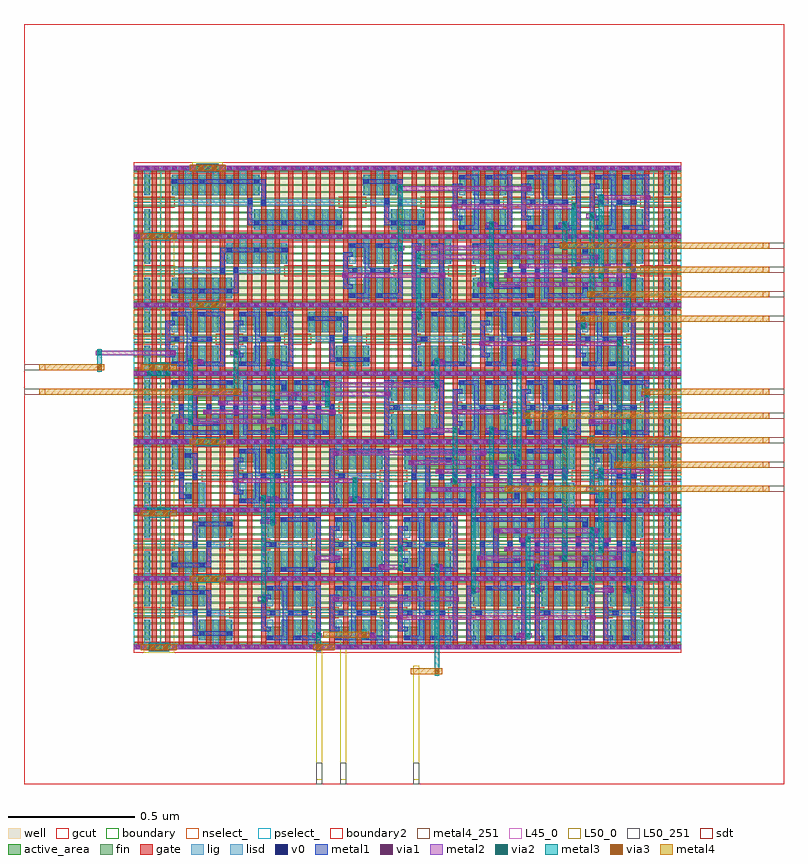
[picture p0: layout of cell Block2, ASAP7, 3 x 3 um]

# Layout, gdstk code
from math import pi, radians
import gdstk
lib = gdstk.Library(unit=1e-6, precision=2.5e-10)
def R(c, l, rs):  # rectangles x0, y0, x1, y1
    for r in rs: c.add(gdstk.rectangle(r[:2], r[2:], *l))
def A(c, l, x, y, w, h, nx, ny, dx, dy):  # array of equal rectangles
    R(c, l, [(x+i*dx, y+j*dy, x+i*dx+w, y+j*dy+h) for i in range(nx) for j in range(ny)])
def P(c, l, *ps):  # polygons
    for p in ps: c.add(gdstk.Polygon(p, *l))
well = (1, 0)
fin = (2, 0)
gate = (7, 0)
gcut = (10, 0)
active_area = (11, 0)
nselect_ = (12, 0)
pselect_ = (13, 0)
lig = (16, 0)
lisd = (17, 0)
v0 = (18, 0)
metal1 = (19, 0)
metal2 = (20, 0)
via1 = (21, 0)
via2 = (25, 0)
metal3 = (30, 0)
via3 = (35, 0)
metal4 = (40, 0)
metal4_251 = (40, 251)
L45_0 = (45, 0)
L50_0 = (50, 0)
L50_251 = (50, 251)
sdt = (88, 0)
boundary = (100, 0)
boundary2 = (235, 0)

via_via1_2_2160_18_1_60_ = lib.new_cell('VIA_via1_2_2160_18_1_60_36_36')
R(via_via1_2_2160_18_1_60_, metal1, [(-1.071,-0.009,1.071,0.009)])
R(via_via1_2_2160_18_1_60_, metal2, [(-1.073,-0.009,1.073,0.009)])
A(via_via1_2_2160_18_1_60_, via1, -1.071, -0.009, 0.018, 0.018, 60, 1, 0.036, 0)

via_via12 = lib.new_cell('VIA_VIA12')
R(via_via12, metal1, [(-0.009,-0.011,0.009,0.011)])
R(via_via12, metal2, [(-0.014,-0.009,0.014,0.009)])
R(via_via12, via1, [(-0.009,-0.009,0.009,0.009)])

via_via23 = lib.new_cell('VIA_VIA23')
R(via_via23, metal2, [(-0.014,-0.009,0.014,0.009)])
R(via_via23, via2, [(-0.009,-0.009,0.009,0.009)])
R(via_via23, metal3, [(-0.009,-0.014,0.009,0.014)])

via_via34 = lib.new_cell('VIA_VIA34')
R(via_via34, metal3, [(-0.009,-0.017,0.009,0.017)])
R(via_via34, via3, [(-0.009,-0.012,0.009,0.012)])
R(via_via34, metal4, [(-0.02,-0.012,0.02,0.012)])

decapx2_asap7_75t_r = lib.new_cell('DECAPx2_ASAP7_75t_R')
R(decapx2_asap7_75t_r, well, [(0,0.135,0.324,0.27)])
A(decapx2_asap7_75t_r, fin, 0, 0.01, 0.324, 0.007, 1, 10, 0, 0.027)
A(decapx2_asap7_75t_r, gate, 0.017, -0.005, 0.02, 0.28, 6, 1, 0.054, 0)
R(decapx2_asap7_75t_r, gcut, [(0,-0.022,0.324,0.022), (0,0.113,0.054,0.157), (0.27,0.113,0.324,0.157), (0,0.248,0.324,0.292)])
R(decapx2_asap7_75t_r, active_area, [(0.154,0.027,0.278,0.108), (0.046,0.162,0.17,0.243)])
R(decapx2_asap7_75t_r, nselect_, [(0,0,0.324,0.135)])
R(decapx2_asap7_75t_r, pselect_, [(0,0.135,0.324,0.27)])
R(decapx2_asap7_75t_r, lig, [(0,-0.008,0.324,0.008), (0.07,0.124,0.146,0.146), (0.178,0.124,0.254,0.146), (0,0.262,0.324,0.278)])
R(decapx2_asap7_75t_r, lisd, [(0.204,0,0.228,0.108), (0.15,0.027,0.174,0.108), (0.258,0.027,0.282,0.108), (0.042,0.162,0.066,0.243), (0.096,0.162,0.12,0.27), (0.15,0.162,0.174,0.243)])
A(decapx2_asap7_75t_r, v0, 0.045, -0.009, 0.018, 0.018, 5, 2, 0.054, 0.27)
R(decapx2_asap7_75t_r, v0, [(0.153,0.045,0.171,0.063), (0.261,0.045,0.279,0.063), (0.126,0.126,0.144,0.144), (0.18,0.126,0.198,0.144), (0.045,0.207,0.063,0.225), (0.153,0.207,0.171,0.225)])
R(decapx2_asap7_75t_r, metal1, [(0,-0.009,0.324,0.009), (0,0.261,0.324,0.279)])
P(decapx2_asap7_75t_r, metal1, [(0.126,0.045),(0.126,0.15),(0.144,0.15),(0.144,0.063),(0.284,0.063),(0.284,0.045)],
  [(0.18,0.121),(0.18,0.207),(0.04,0.207),(0.04,0.225),(0.198,0.225),(0.198,0.121)])
A(decapx2_asap7_75t_r, sdt, 0.15, 0.027, 0.024, 0.081, 3, 1, 0.054, 0)
A(decapx2_asap7_75t_r, sdt, 0.042, 0.162, 0.024, 0.081, 3, 1, 0.054, 0)
R(decapx2_asap7_75t_r, boundary, [(0,0,0.324,0.27)])

filler_asap7_75t_r = lib.new_cell('FILLER_ASAP7_75t_R')
R(filler_asap7_75t_r, well, [(0,0.135,0.108,0.27)])
A(filler_asap7_75t_r, fin, 0, 0.01, 0.108, 0.007, 1, 10, 0, 0.027)
R(filler_asap7_75t_r, gate, [(0.017,-0.005,0.037,0.275), (0.071,-0.005,0.091,0.275)])
A(filler_asap7_75t_r, gcut, 0, -0.022, 0.108, 0.044, 1, 3, 0, 0.135)
R(filler_asap7_75t_r, nselect_, [(0,0,0.108,0.135)])
R(filler_asap7_75t_r, pselect_, [(0,0.135,0.108,0.27)])
R(filler_asap7_75t_r, lig, [(0,-0.008,0.108,0.008), (0,0.262,0.108,0.278)])
R(filler_asap7_75t_r, v0, [(0.045,-0.009,0.063,0.009), (0.045,0.261,0.063,0.279)])
R(filler_asap7_75t_r, metal1, [(0,-0.009,0.108,0.009), (0,0.261,0.108,0.279)])
R(filler_asap7_75t_r, boundary, [(0,0,0.108,0.27)])

tapcell_asap7_75t_r = lib.new_cell('TAPCELL_ASAP7_75t_R')
R(tapcell_asap7_75t_r, well, [(0,0.135,0.108,0.27)])
A(tapcell_asap7_75t_r, fin, 0, 0.01, 0.108, 0.007, 1, 10, 0, 0.027)
R(tapcell_asap7_75t_r, gate, [(0.017,-0.005,0.037,0.275), (0.071,-0.005,0.091,0.275)])
A(tapcell_asap7_75t_r, gcut, 0, -0.022, 0.108, 0.044, 1, 3, 0, 0.135)
R(tapcell_asap7_75t_r, active_area, [(0.046,0.027,0.062,0.108), (0.046,0.162,0.062,0.243)])
R(tapcell_asap7_75t_r, nselect_, [(0,0.135,0.108,0.27)])
R(tapcell_asap7_75t_r, pselect_, [(0,0,0.108,0.135)])
R(tapcell_asap7_75t_r, lig, [(0,-0.008,0.108,0.008), (0,0.262,0.108,0.278)])
R(tapcell_asap7_75t_r, lisd, [(0.042,0,0.066,0.108), (0.042,0.162,0.066,0.27)])
R(tapcell_asap7_75t_r, v0, [(0.045,-0.009,0.063,0.009), (0.045,0.261,0.063,0.279)])
R(tapcell_asap7_75t_r, metal1, [(0,-0.009,0.108,0.009), (0,0.261,0.108,0.279)])
R(tapcell_asap7_75t_r, sdt, [(0.042,0.027,0.066,0.108), (0.042,0.162,0.066,0.243)])
R(tapcell_asap7_75t_r, boundary, [(0,0,0.108,0.27)])

invx3_asap7_75t_r = lib.new_cell('INVx3_ASAP7_75t_R')
R(invx3_asap7_75t_r, well, [(0,0.135,0.27,0.27)])
A(invx3_asap7_75t_r, fin, 0, 0.01, 0.27, 0.007, 1, 10, 0, 0.027)
A(invx3_asap7_75t_r, gate, 0.017, -0.005, 0.02, 0.2805, 5, 1, 0.054, 0)
R(invx3_asap7_75t_r, gcut, [(0,-0.022,0.27,0.022), (0,0.113,0.054,0.157), (0.216,0.113,0.27,0.157), (0,0.248,0.27,0.292)])
R(invx3_asap7_75t_r, active_area, [(0.046,0.027,0.224,0.108), (0.046,0.162,0.224,0.243)])
R(invx3_asap7_75t_r, nselect_, [(0,0,0.27,0.135)])
R(invx3_asap7_75t_r, pselect_, [(0,0.135,0.27,0.27)])
R(invx3_asap7_75t_r, lig, [(0,-0.008,0.27,0.008), (0.054,0.124,0.201,0.146), (0,0.262,0.27,0.278)])
R(invx3_asap7_75t_r, lisd, [(0.042,0,0.066,0.108), (0.15,0,0.174,0.108), (0.096,0.027,0.12,0.108), (0.204,0.027,0.228,0.108), (0.042,0.162,0.066,0.27), (0.096,0.162,0.12,0.243), (0.15,0.162,0.174,0.27), (0.204,0.162,0.228,0.243)])
A(invx3_asap7_75t_r, v0, 0.045, -0.009, 0.018, 0.018, 4, 2, 0.054, 0.27)
R(invx3_asap7_75t_r, v0, [(0.099,0.027,0.117,0.045), (0.207,0.027,0.225,0.045), (0.055,0.126,0.073,0.144), (0.099,0.225,0.117,0.243), (0.207,0.225,0.225,0.243)])
R(invx3_asap7_75t_r, metal1, [(0,-0.009,0.27,0.009), (0,0.261,0.27,0.279)])
P(invx3_asap7_75t_r, metal1, [(0.018,0.027),(0.018,0.243),(0.055,0.243),(0.055,0.225),(0.036,0.225),(0.036,0.144),(0.078,0.144),(0.078,0.126),(0.036,0.126),(0.036,0.045),(0.055,0.045),(0.055,0.027)],
  [(0.094,0.027),(0.094,0.045),(0.234,0.045),(0.234,0.225),(0.094,0.225),(0.094,0.243),(0.252,0.243),(0.252,0.027)])
A(invx3_asap7_75t_r, sdt, 0.042, 0.027, 0.024, 0.081, 4, 2, 0.054, 0.135)
R(invx3_asap7_75t_r, boundary, [(0,0,0.27,0.27)])

fax1_asap7_75t_r = lib.new_cell('FAx1_ASAP7_75t_R')
R(fax1_asap7_75t_r, well, [(0,0.135,0.756,0.27)])
A(fax1_asap7_75t_r, fin, 0, 0.01, 0.756, 0.007, 1, 10, 0, 0.027)
A(fax1_asap7_75t_r, gate, 0.017, -0.0035, 0.02, 0.277, 14, 1, 0.054, 0)
R(fax1_asap7_75t_r, gcut, [(0,-0.022,0.756,0.022), (0,0.113,0.054,0.157), (0.702,0.113,0.756,0.157), (0,0.248,0.756,0.292)])
R(fax1_asap7_75t_r, active_area, [(0.046,0.027,0.71,0.108), (0.046,0.162,0.71,0.243)])
R(fax1_asap7_75t_r, nselect_, [(0,0,0.756,0.135)])
R(fax1_asap7_75t_r, pselect_, [(0,0.135,0.756,0.27)])
A(fax1_asap7_75t_r, lig, 0.394, 0.124, 0.022, 0.022, 6, 1, 0.054, 0)
R(fax1_asap7_75t_r, lig, [(0,-0.008,0.756,0.008), (0.07,0.124,0.146,0.146), (0.178,0.124,0.2,0.146), (0.232,0.124,0.254,0.146), (0.286,0.124,0.362,0.146), (0,0.262,0.756,0.278)])
R(fax1_asap7_75t_r, lisd, [(0.096,0,0.12,0.108), (0.312,0,0.336,0.108), (0.582,0,0.606,0.108), (0.69,0,0.714,0.108), (0.042,0.027,0.066,0.108), (0.204,0.027,0.228,0.108), (0.258,0.027,0.282,0.108), (0.474,0.027,0.498,0.108), (0.528,0.027,0.552,0.108), (0.636,0.027,0.66,0.108), (0.042,0.162,0.066,0.243), (0.096,0.162,0.12,0.27), (0.204,0.162,0.228,0.243), (0.258,0.162,0.282,0.243), (0.312,0.162,0.336,0.27), (0.474,0.162,0.498,0.243), (0.528,0.162,0.552,0.243), (0.582,0.162,0.606,0.27), (0.636,0.162,0.66,0.243), (0.69,0.162,0.714,0.27)])
A(fax1_asap7_75t_r, v0, 0.099, -0.009, 0.018, 0.018, 3, 1, 0.054, 0)
A(fax1_asap7_75t_r, v0, 0.315, -0.009, 0.018, 0.018, 4, 2, 0.054, 0.27)
A(fax1_asap7_75t_r, v0, 0.18, 0.126, 0.018, 0.018, 3, 1, 0.054, 0)
A(fax1_asap7_75t_r, v0, 0.45, 0.126, 0.018, 0.018, 3, 1, 0.054, 0)
R(fax1_asap7_75t_r, v0, [(0.045,-0.009,0.063,0.009), (0.045,-0.009,0.063,0.009), (0.045,-0.009,0.063,0.009), (0.099,-0.009,0.117,0.009), (0.099,-0.009,0.117,0.009), (0.207,-0.009,0.225,0.009), (0.207,-0.009,0.225,0.009), (0.207,-0.009,0.225,0.009), (0.261,-0.009,0.279,0.009), (0.261,-0.009,0.279,0.009), (0.261,-0.009,0.279,0.009), (0.261,-0.009,0.279,0.009), (0.315,-0.009,0.333,0.009), (0.315,-0.009,0.333,0.009), (0.315,-0.009,0.333,0.009), (0.477,-0.009,0.495,0.009), (0.477,-0.009,0.495,0.009), (0.477,-0.009,0.495,0.009), (0.531,-0.009,0.549,0.009), (0.531,-0.009,0.549,0.009), (0.531,-0.009,0.549,0.009), (0.531,-0.009,0.549,0.009), (0.585,-0.009,0.603,0.009), (0.585,-0.009,0.603,0.009), (0.585,-0.009,0.603,0.009), (0.585,-0.009,0.603,0.009), (0.639,-0.009,0.657,0.009), (0.639,-0.009,0.657,0.009), (0.639,-0.009,0.657,0.009), (0.639,-0.009,0.657,0.009), (0.693,-0.009,0.711,0.009), (0.693,-0.009,0.711,0.009), (0.693,-0.009,0.711,0.009), (0.693,-0.009,0.711,0.009), (0.045,0.027,0.063,0.045), (0.261,0.027,0.279,0.045), (0.531,0.027,0.549,0.045), (0.639,0.027,0.657,0.045), (0.477,0.045,0.495,0.063), (0.207,0.072,0.225,0.09), (0.072,0.126,0.09,0.144), (0.396,0.126,0.414,0.144), (0.396,0.126,0.414,0.144), (0.45,0.126,0.468,0.144), (0.558,0.126,0.576,0.144), (0.558,0.126,0.576,0.144), (0.612,0.126,0.63,0.144), (0.612,0.126,0.63,0.144), (0.612,0.126,0.63,0.144), (0.666,0.126,0.684,0.144), (0.666,0.126,0.684,0.144), (0.207,0.189,0.225,0.207), (0.477,0.189,0.495,0.207), (0.045,0.225,0.063,0.243), (0.261,0.225,0.279,0.243), (0.531,0.225,0.549,0.243), (0.639,0.225,0.657,0.243), (0.045,0.261,0.063,0.279), (0.045,0.261,0.063,0.279), (0.045,0.261,0.063,0.279), (0.045,0.261,0.063,0.279), (0.099,0.261,0.117,0.279), (0.099,0.261,0.117,0.279), (0.153,0.261,0.171,0.279), (0.153,0.261,0.171,0.279), (0.207,0.261,0.225,0.279), (0.207,0.261,0.225,0.279), (0.207,0.261,0.225,0.279), (0.261,0.261,0.279,0.279), (0.261,0.261,0.279,0.279), (0.261,0.261,0.279,0.279), (0.315,0.261,0.333,0.279), (0.315,0.261,0.333,0.279), (0.477,0.261,0.495,0.279), (0.477,0.261,0.495,0.279), (0.531,0.261,0.549,0.279), (0.531,0.261,0.549,0.279), (0.531,0.261,0.549,0.279), (0.585,0.261,0.603,0.279), (0.585,0.261,0.603,0.279), (0.585,0.261,0.603,0.279), (0.639,0.261,0.657,0.279), (0.639,0.261,0.657,0.279), (0.639,0.261,0.657,0.279), (0.693,0.261,0.711,0.279), (0.693,0.261,0.711,0.279), (0.693,0.261,0.711,0.279)])
R(fax1_asap7_75t_r, metal1, [(0,-0.009,0.756,0.009), (0.04,0.027,0.284,0.045), (0.324,0.027,0.495,0.045), (0.324,0.027,0.342,0.243), (0.477,0.027,0.495,0.068), (0.526,0.027,0.662,0.045), (0.124,0.072,0.282,0.09), (0.124,0.072,0.142,0.207), (0.515,0.072,0.543,0.09), (0.504,0.09,0.533,0.108), (0.504,0.09,0.522,0.149), (0.45,0.103,0.468,0.149), (0.226,0.108,0.263,0.126), (0.234,0.108,0.252,0.149), (0.558,0.108,0.587,0.126), (0.558,0.108,0.576,0.149), (0.072,0.121,0.09,0.198), (0.18,0.121,0.198,0.162), (0.288,0.121,0.306,0.167), (0.396,0.121,0.414,0.198), (0.612,0.121,0.63,0.198), (0.666,0.121,0.684,0.167), (0.167,0.144,0.198,0.162), (0.059,0.18,0.09,0.198), (0.383,0.18,0.414,0.198), (0.599,0.18,0.63,0.198), (0.477,0.184,0.495,0.243), (0.124,0.189,0.23,0.207), (0.04,0.225,0.284,0.243), (0.324,0.225,0.495,0.243), (0.526,0.225,0.662,0.243), (0,0.261,0.756,0.279)])
R(fax1_asap7_75t_r, metal2, [(0.128,0.072,0.543,0.09), (0.229,0.108,0.587,0.126), (0.229,0.108,0.587,0.126), (0.167,0.144,0.689,0.162), (0.059,0.18,0.627,0.198)])
R(fax1_asap7_75t_r, via1, [(0.133,0.072,0.151,0.09), (0.52,0.072,0.538,0.09), (0.234,0.108,0.252,0.126), (0.45,0.108,0.468,0.126), (0.564,0.108,0.582,0.126), (0.172,0.144,0.19,0.162), (0.288,0.144,0.306,0.162), (0.666,0.144,0.684,0.162), (0.064,0.18,0.082,0.198), (0.388,0.18,0.406,0.198), (0.604,0.18,0.622,0.198)])
A(fax1_asap7_75t_r, sdt, 0.204, 0.027, 0.024, 0.081, 3, 2, 0.054, 0.135)
A(fax1_asap7_75t_r, sdt, 0.474, 0.027, 0.024, 0.081, 5, 2, 0.054, 0.135)
R(fax1_asap7_75t_r, sdt, [(0.042,0.027,0.066,0.108), (0.096,0.027,0.12,0.108), (0.042,0.162,0.066,0.243), (0.096,0.162,0.12,0.243)])
R(fax1_asap7_75t_r, boundary, [(0,0,0.756,0.27)])

bufx2_asap7_75t_r = lib.new_cell('BUFx2_ASAP7_75t_R')
R(bufx2_asap7_75t_r, well, [(0,0.135,0.27,0.27)])
A(bufx2_asap7_75t_r, fin, 0, 0.01, 0.27, 0.007, 1, 10, 0, 0.027)
A(bufx2_asap7_75t_r, gate, 0.017, -0.005, 0.02, 0.2805, 5, 1, 0.054, 0)
R(bufx2_asap7_75t_r, gcut, [(0,-0.022,0.27,0.022), (0,0.113,0.054,0.157), (0.216,0.113,0.27,0.157), (0,0.248,0.27,0.292)])
P(bufx2_asap7_75t_r, active_area, [(0.046,0.027),(0.046,0.081),(0.096,0.081),(0.096,0.108),(0.224,0.108),(0.224,0.027)],
  [(0.096,0.162),(0.096,0.189),(0.046,0.189),(0.046,0.243),(0.224,0.243),(0.224,0.162)])
R(bufx2_asap7_75t_r, nselect_, [(0,0,0.27,0.135)])
R(bufx2_asap7_75t_r, pselect_, [(0,0.135,0.27,0.27)])
R(bufx2_asap7_75t_r, lig, [(0,-0.008,0.27,0.008), (0.054,0.124,0.092,0.146), (0.124,0.124,0.146,0.146), (0.178,0.124,0.2,0.146), (0,0.262,0.27,0.278)])
R(bufx2_asap7_75t_r, lisd, [(0.096,0,0.12,0.108), (0.204,0,0.228,0.108), (0.042,0.027,0.066,0.108), (0.15,0.027,0.174,0.108), (0.042,0.162,0.066,0.243), (0.096,0.162,0.12,0.27), (0.15,0.162,0.174,0.243), (0.204,0.162,0.228,0.27)])
A(bufx2_asap7_75t_r, v0, 0.045, -0.009, 0.018, 0.018, 4, 2, 0.054, 0.27)
R(bufx2_asap7_75t_r, v0, [(0.045,0.027,0.063,0.045), (0.153,0.027,0.171,0.045), (0.055,0.126,0.073,0.144), (0.126,0.126,0.144,0.144), (0.18,0.126,0.198,0.144), (0.045,0.225,0.063,0.243), (0.153,0.225,0.171,0.243)])
R(bufx2_asap7_75t_r, metal1, [(0,-0.009,0.27,0.009), (0,0.261,0.27,0.279)])
P(bufx2_asap7_75t_r, metal1, [(0.145,0.027),(0.145,0.045),(0.234,0.045),(0.234,0.225),(0.145,0.225),(0.145,0.243),(0.252,0.243),(0.252,0.027)],
  [(0.04,0.027),(0.04,0.045),(0.102,0.045),(0.102,0.225),(0.04,0.225),(0.04,0.243),(0.12,0.243),(0.12,0.144),(0.203,0.144),(0.203,0.126),(0.12,0.126),(0.12,0.027)],
  [(0.018,0.063),(0.018,0.207),(0.055,0.207),(0.055,0.189),(0.036,0.189),(0.036,0.144),(0.073,0.144),(0.073,0.126),(0.036,0.126),(0.036,0.081),(0.055,0.081),(0.055,0.063)])
A(bufx2_asap7_75t_r, sdt, 0.042, 0.027, 0.024, 0.081, 4, 2, 0.054, 0.135)
R(bufx2_asap7_75t_r, boundary, [(0,0,0.27,0.27)])

fillerxp5_asap7_75t_r = lib.new_cell('FILLERxp5_ASAP7_75t_R')
R(fillerxp5_asap7_75t_r, well, [(0,0.135,0.054,0.27)])
A(fillerxp5_asap7_75t_r, fin, 0, 0.01, 0.054, 0.007, 1, 10, 0, 0.027)
R(fillerxp5_asap7_75t_r, gate, [(0.017,-0.005,0.037,0.275)])
A(fillerxp5_asap7_75t_r, gcut, 0, -0.022, 0.054, 0.044, 1, 3, 0, 0.135)
R(fillerxp5_asap7_75t_r, nselect_, [(0,0,0.054,0.135)])
R(fillerxp5_asap7_75t_r, pselect_, [(0,0.135,0.054,0.27)])
R(fillerxp5_asap7_75t_r, lig, [(0,-0.008,0.054,0.008), (0,0.262,0.054,0.278)])
R(fillerxp5_asap7_75t_r, metal1, [(0,-0.009,0.054,0.009), (0,0.261,0.054,0.279)])
R(fillerxp5_asap7_75t_r, boundary, [(0,0,0.054,0.27)])

invx2_asap7_75t_r = lib.new_cell('INVx2_ASAP7_75t_R')
R(invx2_asap7_75t_r, well, [(0,0.135,0.216,0.27)])
A(invx2_asap7_75t_r, fin, 0, 0.01, 0.216, 0.007, 1, 10, 0, 0.027)
A(invx2_asap7_75t_r, gate, 0.017, -0.005, 0.02, 0.28, 4, 1, 0.054, 0)
R(invx2_asap7_75t_r, gcut, [(0,-0.022,0.216,0.022), (0,0.113,0.054,0.157), (0.162,0.113,0.216,0.157), (0,0.248,0.216,0.292)])
R(invx2_asap7_75t_r, active_area, [(0.046,0.027,0.17,0.108), (0.046,0.162,0.17,0.243)])
R(invx2_asap7_75t_r, nselect_, [(0,0,0.216,0.135)])
R(invx2_asap7_75t_r, pselect_, [(0,0.135,0.216,0.27)])
R(invx2_asap7_75t_r, lig, [(0,-0.008,0.216,0.008), (0.054,0.124,0.147,0.146), (0,0.262,0.216,0.278)])
R(invx2_asap7_75t_r, lisd, [(0.042,0,0.066,0.108), (0.15,0,0.174,0.108), (0.096,0.027,0.12,0.108), (0.042,0.162,0.066,0.27), (0.096,0.162,0.12,0.243), (0.15,0.162,0.174,0.27)])
A(invx2_asap7_75t_r, v0, 0.045, -0.009, 0.018, 0.018, 3, 2, 0.054, 0.27)
R(invx2_asap7_75t_r, v0, [(0.099,0.027,0.117,0.045), (0.055,0.126,0.073,0.144), (0.099,0.225,0.117,0.243)])
R(invx2_asap7_75t_r, metal1, [(0,-0.009,0.216,0.009), (0,0.261,0.216,0.279)])
P(invx2_asap7_75t_r, metal1, [(0.018,0.027),(0.018,0.243),(0.055,0.243),(0.055,0.225),(0.036,0.225),(0.036,0.144),(0.078,0.144),(0.078,0.126),(0.036,0.126),(0.036,0.045),(0.055,0.045),(0.055,0.027)],
  [(0.094,0.027),(0.094,0.045),(0.126,0.045),(0.126,0.225),(0.094,0.225),(0.094,0.243),(0.144,0.243),(0.144,0.027)])
A(invx2_asap7_75t_r, sdt, 0.042, 0.027, 0.024, 0.081, 3, 2, 0.054, 0.135)
R(invx2_asap7_75t_r, boundary, [(0,0,0.216,0.27)])

via_via45_1_2_58_58 = lib.new_cell('VIA_VIA45_1_2_58_58')
R(via_via45_1_2_58_58, metal4, [(-0.071,-0.012,0.071,0.012)])
R(via_via45_1_2_58_58, L45_0, [(-0.06,-0.012,0.002,0.012), (-0.002,-0.012,0.06,0.012)])
R(via_via45_1_2_58_58, L50_0, [(-0.06,-0.023,0.06,0.023)])

decapx4_asap7_75t_r = lib.new_cell('DECAPx4_ASAP7_75t_R')
R(decapx4_asap7_75t_r, well, [(0,0.135,0.54,0.27)])
A(decapx4_asap7_75t_r, fin, 0, 0.01, 0.54, 0.007, 1, 10, 0, 0.027)
A(decapx4_asap7_75t_r, gate, 0.017, -0.005, 0.02, 0.28, 10, 1, 0.054, 0)
R(decapx4_asap7_75t_r, gcut, [(0,-0.022,0.54,0.022), (0,0.113,0.054,0.157), (0.486,0.113,0.54,0.157), (0,0.248,0.54,0.292)])
R(decapx4_asap7_75t_r, active_area, [(0.262,0.027,0.494,0.108), (0.046,0.162,0.278,0.243)])
R(decapx4_asap7_75t_r, nselect_, [(0,0,0.54,0.135)])
R(decapx4_asap7_75t_r, pselect_, [(0,0.135,0.54,0.27)])
R(decapx4_asap7_75t_r, lig, [(0,-0.008,0.54,0.008), (0.07,0.124,0.254,0.146), (0.286,0.124,0.47,0.146), (0,0.262,0.54,0.278)])
A(decapx4_asap7_75t_r, lisd, 0.258, 0.027, 0.024, 0.081, 3, 1, 0.108, 0)
A(decapx4_asap7_75t_r, lisd, 0.042, 0.162, 0.024, 0.081, 3, 1, 0.108, 0)
R(decapx4_asap7_75t_r, lisd, [(0.312,0,0.336,0.108), (0.42,0,0.444,0.108), (0.096,0.162,0.12,0.27), (0.204,0.162,0.228,0.27)])
A(decapx4_asap7_75t_r, v0, 0.045, -0.009, 0.018, 0.018, 9, 2, 0.054, 0.27)
A(decapx4_asap7_75t_r, v0, 0.261, 0.045, 0.018, 0.018, 3, 1, 0.108, 0)
A(decapx4_asap7_75t_r, v0, 0.045, 0.207, 0.018, 0.018, 3, 1, 0.108, 0)
R(decapx4_asap7_75t_r, v0, [(0.234,0.126,0.252,0.144), (0.288,0.126,0.306,0.144)])
R(decapx4_asap7_75t_r, metal1, [(0,-0.009,0.54,0.009), (0,0.261,0.54,0.279)])
P(decapx4_asap7_75t_r, metal1, [(0.234,0.045),(0.234,0.15),(0.252,0.15),(0.252,0.063),(0.5,0.063),(0.5,0.045)],
  [(0.288,0.121),(0.288,0.207),(0.04,0.207),(0.04,0.225),(0.306,0.225),(0.306,0.121)])
A(decapx4_asap7_75t_r, sdt, 0.258, 0.027, 0.024, 0.081, 5, 1, 0.054, 0)
A(decapx4_asap7_75t_r, sdt, 0.042, 0.162, 0.024, 0.081, 5, 1, 0.054, 0)
R(decapx4_asap7_75t_r, boundary, [(0,0,0.54,0.27)])

decapx6_asap7_75t_r = lib.new_cell('DECAPx6_ASAP7_75t_R')
R(decapx6_asap7_75t_r, well, [(0,0.135,0.756,0.27)])
A(decapx6_asap7_75t_r, fin, 0, 0.01, 0.756, 0.007, 1, 10, 0, 0.027)
A(decapx6_asap7_75t_r, gate, 0.017, -0.005, 0.02, 0.28, 14, 1, 0.054, 0)
R(decapx6_asap7_75t_r, gcut, [(0,-0.022,0.756,0.022), (0,0.113,0.054,0.157), (0.702,0.113,0.756,0.157), (0,0.248,0.756,0.292)])
R(decapx6_asap7_75t_r, active_area, [(0.37,0.027,0.71,0.108), (0.046,0.162,0.386,0.243)])
R(decapx6_asap7_75t_r, nselect_, [(0,0,0.756,0.135)])
R(decapx6_asap7_75t_r, pselect_, [(0,0.135,0.756,0.27)])
R(decapx6_asap7_75t_r, lig, [(0,-0.008,0.756,0.008), (0.07,0.124,0.362,0.146), (0.394,0.124,0.686,0.146), (0,0.262,0.756,0.278)])
A(decapx6_asap7_75t_r, lisd, 0.42, 0, 0.024, 0.108, 3, 1, 0.108, 0)
A(decapx6_asap7_75t_r, lisd, 0.366, 0.027, 0.024, 0.081, 4, 1, 0.108, 0)
A(decapx6_asap7_75t_r, lisd, 0.042, 0.162, 0.024, 0.081, 4, 1, 0.108, 0)
A(decapx6_asap7_75t_r, lisd, 0.096, 0.162, 0.024, 0.108, 3, 1, 0.108, 0)
A(decapx6_asap7_75t_r, v0, 0.045, -0.009, 0.018, 0.018, 13, 2, 0.054, 0.27)
A(decapx6_asap7_75t_r, v0, 0.369, 0.045, 0.018, 0.018, 4, 1, 0.108, 0)
A(decapx6_asap7_75t_r, v0, 0.045, 0.207, 0.018, 0.018, 4, 1, 0.108, 0)
R(decapx6_asap7_75t_r, v0, [(0.342,0.126,0.36,0.144), (0.396,0.126,0.414,0.144)])
R(decapx6_asap7_75t_r, metal1, [(0,-0.009,0.756,0.009), (0,0.261,0.756,0.279)])
P(decapx6_asap7_75t_r, metal1, [(0.342,0.045),(0.342,0.15),(0.36,0.15),(0.36,0.063),(0.716,0.063),(0.716,0.045)],
  [(0.396,0.121),(0.396,0.207),(0.04,0.207),(0.04,0.225),(0.414,0.225),(0.414,0.121)])
A(decapx6_asap7_75t_r, sdt, 0.366, 0.027, 0.024, 0.081, 7, 1, 0.054, 0)
A(decapx6_asap7_75t_r, sdt, 0.042, 0.162, 0.024, 0.081, 7, 1, 0.054, 0)
R(decapx6_asap7_75t_r, boundary, [(0,0,0.756,0.27)])

via_via34_1_2_58_52 = lib.new_cell('VIA_VIA34_1_2_58_52')
R(via_via34_1_2_58_52, metal3, [(-0.04,-0.017,0.04,0.017)])
R(via_via34_1_2_58_52, via3, [(-0.035,-0.012,-0.017,0.012), (0.017,-0.012,0.035,0.012)])
R(via_via34_1_2_58_52, metal4, [(-0.046,-0.012,0.046,0.012)])

via_via23_1_3_36_36 = lib.new_cell('VIA_VIA23_1_3_36_36')
R(via_via23_1_3_36_36, metal2, [(-0.05,-0.009,0.05,0.009)])
A(via_via23_1_3_36_36, via2, -0.045, -0.009, 0.018, 0.018, 3, 1, 0.036, 0)
R(via_via23_1_3_36_36, metal3, [(-0.045,-0.009,0.045,0.009)])

decapx1_asap7_75t_r = lib.new_cell('DECAPx1_ASAP7_75t_R')
R(decapx1_asap7_75t_r, well, [(0,0.135,0.216,0.27)])
A(decapx1_asap7_75t_r, fin, 0, 0.01, 0.216, 0.007, 1, 10, 0, 0.027)
A(decapx1_asap7_75t_r, gate, 0.017, -0.005, 0.02, 0.28, 4, 1, 0.054, 0)
R(decapx1_asap7_75t_r, gcut, [(0,-0.022,0.216,0.022), (0,0.113,0.054,0.157), (0.162,0.113,0.216,0.157), (0,0.248,0.216,0.292)])
R(decapx1_asap7_75t_r, active_area, [(0.1,0.027,0.17,0.108), (0.046,0.162,0.116,0.243)])
R(decapx1_asap7_75t_r, nselect_, [(0,0,0.216,0.135)])
R(decapx1_asap7_75t_r, pselect_, [(0,0.135,0.216,0.27)])
R(decapx1_asap7_75t_r, lig, [(0,-0.008,0.216,0.008), (0.07,0.124,0.092,0.146), (0.124,0.124,0.146,0.146), (0,0.262,0.216,0.278)])
R(decapx1_asap7_75t_r, lisd, [(0.15,0,0.174,0.108), (0.096,0.027,0.12,0.108), (0.042,0.162,0.066,0.27), (0.096,0.162,0.12,0.243)])
A(decapx1_asap7_75t_r, v0, 0.045, -0.009, 0.018, 0.018, 3, 2, 0.054, 0.27)
R(decapx1_asap7_75t_r, v0, [(0.099,0.045,0.117,0.063), (0.072,0.126,0.09,0.144), (0.126,0.126,0.144,0.144), (0.099,0.207,0.117,0.225)])
R(decapx1_asap7_75t_r, metal1, [(0,-0.009,0.216,0.009), (0,0.261,0.216,0.279)])
P(decapx1_asap7_75t_r, metal1, [(0.126,0.121),(0.126,0.207),(0.094,0.207),(0.094,0.225),(0.144,0.225),(0.144,0.121)],
  [(0.072,0.045),(0.072,0.15),(0.09,0.15),(0.09,0.063),(0.122,0.063),(0.122,0.045)])
R(decapx1_asap7_75t_r, sdt, [(0.096,0.027,0.12,0.108), (0.15,0.027,0.174,0.108), (0.042,0.162,0.066,0.243), (0.096,0.162,0.12,0.243)])
R(decapx1_asap7_75t_r, boundary, [(0,0,0.216,0.27)])

via_via45 = lib.new_cell('VIA_VIA45')
R(via_via45, metal4, [(-0.023,-0.012,0.023,0.012)])
R(via_via45, L45_0, [(-0.012,-0.012,0.012,0.012)])
R(via_via45, L50_0, [(-0.012,-0.023,0.012,0.023)])

block2 = lib.new_cell('Block2')
A(block2, metal1, 0.432, 0.531, 2.16, 0.018, 1, 8, 0, 0.27)
A(block2, metal2, 0.432, 0.531, 2.16, 0.018, 1, 8, 0, 0.27)
R(block2, metal2, [(1.138,0.576,1.161,0.594), (1.318,0.576,1.387,0.594), (1.944,0.576,1.998,0.594), (1.476,0.648,2.25,0.666), (0.922,0.72,0.945,0.738), (1.224,0.72,1.71,0.738), (1.773,0.756,1.796,0.774), (2.002,0.756,2.025,0.774), (2.232,0.756,2.322,0.774), (2.362,0.756,2.385,0.774), (1.404,0.846,1.494,0.864), (1.606,0.846,1.629,0.864), (2.016,0.846,2.07,0.864), (1.152,0.882,1.242,0.9), (1.462,0.918,1.485,0.936), (0.936,1.026,0.99,1.044), (0.936,1.116,0.99,1.134), (1.282,1.116,1.314,1.134), (2.218,1.152,2.241,1.17), (0.828,1.188,1.314,1.206), (2.268,1.224,2.466,1.242), (1.224,1.296,1.818,1.314), (0.958,1.386,0.981,1.404), (1.584,1.386,1.71,1.404), (1.822,1.386,1.845,1.404), (2.11,1.386,2.133,1.404), (1.966,1.422,1.989,1.44), (2.232,1.422,2.394,1.44), (1.692,1.458,1.926,1.476), (1.125,1.494,1.206,1.512), (1.053,1.53,1.44,1.548), (2.434,1.53,2.457,1.548), (1.188,1.566,1.638,1.584), (0.648,1.656,0.702,1.674), (0.958,1.656,0.997,1.674), (1.629,1.656,1.652,1.674), (1.93,1.656,1.969,1.674), (0.288,1.692,0.594,1.71), (0.814,1.692,0.837,1.71), (1.8,1.728,2.358,1.746), (2.182,1.8,2.205,1.818), (1.534,1.836,1.557,1.854), (2.362,1.836,2.385,1.854), (1.26,1.998,1.656,2.016), (2.313,2.034,2.394,2.052), (1.548,2.07,1.881,2.088), (1.462,2.106,1.485,2.124), (1.548,2.106,2.07,2.124), (1.822,2.196,1.854,2.214), (2.11,2.196,2.133,2.214), (2.218,2.232,2.241,2.25), (1.692,2.268,2.178,2.286), (2.268,2.304,2.466,2.322), (1.476,2.34,1.998,2.358)])
A(block2, metal3, 0.487, 0.531, 0.09, 0.018, 1, 4, 0, 0.54)
A(block2, metal3, 0.679, 0.793, 0.09, 0.034, 1, 4, 0, 0.54)
R(block2, metal3, [(1.62,0.435,1.638,0.864), (1.152,0.531,1.17,0.594), (1.332,0.576,1.35,0.597), (1.98,0.576,1.998,0.972), (1.332,0.588,1.35,0.608), (0.936,0.72,0.954,1.134), (1.764,0.756,1.782,1.17), (2.016,0.756,2.034,0.864), (2.232,0.756,2.25,1.008), (2.376,0.756,2.394,1.44), (1.476,0.846,1.494,0.936), (2.124,0.882,2.142,1.404), (2.268,0.918,2.286,1.242), (0.972,1.026,0.99,1.404), (1.296,1.116,1.314,1.206), (2.232,1.152,2.25,1.365), (1.908,1.155,1.926,1.476), (1.692,1.188,1.71,1.404), (1.836,1.224,1.854,1.404), (2.34,1.251,2.358,1.746), (1.944,1.26,1.962,1.674), (0.648,1.422,0.666,1.674), (1.98,1.422,1.998,1.461), (0.972,1.458,0.99,1.674), (1.188,1.494,1.206,1.584), (2.448,1.53,2.466,1.557), (0.828,1.539,0.846,1.71), (1.62,1.566,1.638,1.674), (0.288,1.635,0.306,1.71), (2.196,1.8,2.214,1.845), (1.548,1.836,1.566,2.088), (2.376,1.836,2.394,2.052), (2.232,1.923,2.25,2.25), (1.836,1.962,1.854,2.214), (2.268,1.998,2.286,2.322), (2.16,2.019,2.178,2.286), (1.476,2.106,1.494,2.358), (2.124,2.115,2.142,2.214)])
R(block2, metal4, [(1.536,0.432,1.641,0.456), (1.149,0.528,1.176,0.552), (1.164,0.528,1.225,0.552), (1.18,0.576,1.237,0.6), (1.248,0.576,1.353,0.6), (1.905,1.152,2.94,1.176), (2.337,1.248,2.94,1.272), (2.229,1.344,2.94,1.368), (1.977,1.44,2.94,1.464), (0.06,1.536,0.849,1.56), (2.445,1.536,2.94,1.56), (0.06,1.632,0.309,1.656), (2.193,1.824,2.94,1.848), (2.229,1.92,2.94,1.944), (2.157,2.016,2.94,2.04), (2.121,2.112,2.94,2.136)])
A(block2, metal4_251, 2.914, 1.152, 0.084, 0.024, 1, 5, 0, 0.096)
A(block2, metal4_251, 2.914, 1.824, 0.084, 0.024, 1, 4, 0, 0.096)
R(block2, metal4_251, [(0,1.536,0.084,1.56), (0,1.632,0.084,1.656)])
R(block2, L50_0, [(1.152,0.016,1.176,0.552), (1.248,0.016,1.272,0.6), (1.536,0.016,1.56,0.456), (0.472,0.517,0.592,2.183), (0.664,0.787,0.784,2.453)])
R(block2, L50_251, [(1.152,0,1.176,0.084), (1.248,0,1.272,0.084), (1.536,0,1.56,0.084)])
R(block2, boundary2, [(0,0,2.998,2.998)])
block2.add(gdstk.Reference(via_via1_2_2160_18_1_60_, (1.512,1.62)))
block2.add(gdstk.Reference(via_via1_2_2160_18_1_60_, (1.512,1.08)))
block2.add(gdstk.Reference(via_via1_2_2160_18_1_60_, (1.512,0.54)))
block2.add(gdstk.Reference(via_via1_2_2160_18_1_60_, (1.512,2.16)))
block2.add(gdstk.Reference(via_via1_2_2160_18_1_60_, (1.512,1.35)))
block2.add(gdstk.Reference(via_via1_2_2160_18_1_60_, (1.512,1.89)))
block2.add(gdstk.Reference(via_via1_2_2160_18_1_60_, (1.512,2.43)))
block2.add(gdstk.Reference(via_via1_2_2160_18_1_60_, (1.512,0.81)))
block2.add(gdstk.Reference(via_via12, (1.431,1.539)))
block2.add(gdstk.Reference(via_via12, (1.989,1.431)))
block2.add(gdstk.Reference(via_via12, (2.241,1.431)))
block2.add(gdstk.Reference(via_via23, (2.385,1.431)))
block2.add(gdstk.Reference(via_via23, (0.657,1.431)))
block2.add(gdstk.Reference(via_via23, (1.989,1.431)))
block2.add(gdstk.Reference(via_via34, (1.989,1.452)))
block2.add(gdstk.Reference(decapx2_asap7_75t_r, (1.296,2.16)))
block2.add(gdstk.Reference(filler_asap7_75t_r, (1.404,1.62)))
block2.add(gdstk.Reference(filler_asap7_75t_r, (1.296,1.62), x_reflection=True))
block2.add(gdstk.Reference(tapcell_asap7_75t_r, (2.592,1.62), rotation=pi))
block2.add(gdstk.Reference(tapcell_asap7_75t_r, (0.432,1.62), x_reflection=True))
block2.add(gdstk.Reference(invx3_asap7_75t_r, (1.188,1.08)))
block2.add(gdstk.Reference(invx3_asap7_75t_r, (1.404,1.62), x_reflection=True))
block2.add(gdstk.Reference(fax1_asap7_75t_r, (0.54,1.62), x_reflection=True))
block2.add(gdstk.Reference(bufx2_asap7_75t_r, (1.188,0.54)))
block2.add(gdstk.Reference(bufx2_asap7_75t_r, (2.214,1.62), x_reflection=True))
block2.add(gdstk.Reference(bufx2_asap7_75t_r, (1.944,1.62), x_reflection=True))
block2.add(gdstk.Reference(bufx2_asap7_75t_r, (1.188,1.08), x_reflection=True))
block2.add(gdstk.Reference(bufx2_asap7_75t_r, (1.674,1.62), x_reflection=True))
block2.add(gdstk.Reference(bufx2_asap7_75t_r, (1.242,2.16), x_reflection=True))
block2.add(gdstk.Reference(via_via23, (2.457,1.539)))
block2.add(gdstk.Reference(via_via23, (1.845,1.971)))
block2.add(gdstk.Reference(via_via23, (1.845,2.205)))
block2.add(gdstk.Reference(via_via12, (2.457,2.313)))
block2.add(gdstk.Reference(via_via12, (1.969,1.665)))
block2.add(gdstk.Reference(via_via23, (1.557,2.079)))
block2.add(gdstk.Reference(via_via23, (1.557,1.845)))
block2.add(gdstk.Reference(via_via23, (2.205,1.809)))
block2.add(gdstk.Reference(via_via23, (1.917,1.467)))
block2.add(gdstk.Reference(via_via23, (2.241,2.241)))
block2.add(gdstk.Reference(via_via12, (1.557,1.845)))
block2.add(gdstk.Reference(via_via23, (2.349,1.737)))
block2.add(gdstk.Reference(via_via23, (2.169,2.277)))
block2.add(gdstk.Reference(via_via23, (2.133,2.205)))
block2.add(gdstk.Reference(via_via23, (2.385,1.845)))
block2.add(gdstk.Reference(via_via23, (2.385,2.043)))
block2.add(gdstk.Reference(via_via23, (1.485,2.115)))
block2.add(gdstk.Reference(via_via23, (2.277,2.313)))
block2.add(gdstk.Reference(via_via23, (2.277,2.007)))
block2.add(gdstk.Reference(via_via23, (1.953,1.665)))
block2.add(gdstk.Reference(via_via23, (1.629,1.575)))
block2.add(gdstk.Reference(via_via23, (1.629,1.665)))
block2.add(gdstk.Reference(via_via23, (1.485,2.349)))
block2.add(gdstk.Reference(via_via34, (2.241,1.932)))
block2.add(gdstk.Reference(via_via34, (2.169,2.028)))
block2.add(gdstk.Reference(via_via12, (1.647,2.007)))
block2.add(gdstk.Reference(via_via34, (2.457,1.548)))
block2.add(gdstk.Reference(via_via34, (2.133,2.124)))
block2.add(gdstk.Reference(via_via34, (2.205,1.836)))
block2.add(gdstk.Reference(via_via12, (1.557,2.115)))
block2.add(gdstk.Reference(fillerxp5_asap7_75t_r, (2.43,1.62)))
block2.add(gdstk.Reference(fillerxp5_asap7_75t_r, (1.62,2.16)))
block2.add(gdstk.Reference(via_via12, (2.061,2.115)))
block2.add(gdstk.Reference(filler_asap7_75t_r, (2.052,1.62)))
block2.add(gdstk.Reference(via_via12, (1.645,1.665)))
block2.add(gdstk.Reference(via_via12, (2.205,1.809)))
block2.add(gdstk.Reference(tapcell_asap7_75t_r, (2.592,2.16), rotation=pi))
block2.add(gdstk.Reference(via_via12, (1.701,1.467)))
block2.add(gdstk.Reference(tapcell_asap7_75t_r, (2.592,1.62), rotation=pi, x_reflection=True))
block2.add(gdstk.Reference(tapcell_asap7_75t_r, (2.592,2.16), rotation=pi, x_reflection=True))
block2.add(gdstk.Reference(invx3_asap7_75t_r, (1.512,1.62)))
block2.add(gdstk.Reference(via_via12, (1.989,2.349)))
block2.add(gdstk.Reference(via_via12, (2.241,2.241)))
block2.add(gdstk.Reference(invx2_asap7_75t_r, (1.512,2.16), x_reflection=True))
block2.add(gdstk.Reference(fax1_asap7_75t_r, (1.728,2.16), x_reflection=True))
block2.add(gdstk.Reference(via_via12, (2.133,2.205)))
block2.add(gdstk.Reference(bufx2_asap7_75t_r, (1.944,2.16)))
block2.add(gdstk.Reference(bufx2_asap7_75t_r, (2.214,2.16)))
block2.add(gdstk.Reference(bufx2_asap7_75t_r, (1.782,1.62)))
block2.add(gdstk.Reference(bufx2_asap7_75t_r, (2.16,1.62)))
block2.add(gdstk.Reference(bufx2_asap7_75t_r, (1.674,2.16)))
block2.add(gdstk.Reference(via_via12, (1.809,1.737)))
block2.add(gdstk.Reference(via_via12, (2.457,1.539)))
block2.add(gdstk.Reference(via_via12, (1.701,2.277)))
block2.add(gdstk.Reference(via_via12, (1.854,2.205)))
block2.add(gdstk.Reference(via_via12, (2.385,1.845)))
block2.add(gdstk.Reference(via_via12, (1.485,2.115)))
block2.add(gdstk.Reference(via_via23, (0.297,1.701)))
block2.add(gdstk.Reference(via_via45_1_2_58_58, (0.724,1.89)))
block2.add(gdstk.Reference(fillerxp5_asap7_75t_r, (1.188,2.16), x_reflection=True))
block2.add(gdstk.Reference(via_via23, (0.981,1.665)))
block2.add(gdstk.Reference(via_via12, (0.693,1.665)))
block2.add(gdstk.Reference(via_via45_1_2_58_58, (0.532,1.644)))
block2.add(gdstk.Reference(filler_asap7_75t_r, (1.08,2.16), x_reflection=True))
block2.add(gdstk.Reference(decapx4_asap7_75t_r, (0.54,2.16), x_reflection=True))
block2.add(gdstk.Reference(decapx6_asap7_75t_r, (0.54,2.16)))
block2.add(gdstk.Reference(tapcell_asap7_75t_r, (0.432,1.62)))
block2.add(gdstk.Reference(tapcell_asap7_75t_r, (0.432,2.16)))
block2.add(gdstk.Reference(via_via12, (1.269,2.007)))
block2.add(gdstk.Reference(via_via45_1_2_58_58, (0.724,2.43)))
block2.add(gdstk.Reference(via_via23, (0.981,1.467)))
block2.add(gdstk.Reference(tapcell_asap7_75t_r, (0.432,2.16), x_reflection=True))
block2.add(gdstk.Reference(via_via45_1_2_58_58, (0.532,2.16)))
block2.add(gdstk.Reference(via_via34_1_2_58_52, (0.724,2.43)))
block2.add(gdstk.Reference(via_via34_1_2_58_52, (0.724,1.89)))
block2.add(gdstk.Reference(via_via23, (0.657,1.665)))
block2.add(gdstk.Reference(via_via34_1_2_58_52, (0.532,1.644)))
block2.add(gdstk.Reference(via_via34_1_2_58_52, (0.532,2.16)))
block2.add(gdstk.Reference(via_via23, (1.197,1.575)))
block2.add(gdstk.Reference(via_via23, (1.197,1.503)))
block2.add(gdstk.Reference(via_via23_1_3_36_36, (0.724,2.43)))
block2.add(gdstk.Reference(bufx2_asap7_75t_r, (0.81,1.62)))
block2.add(gdstk.Reference(via_via12, (0.837,1.701)))
block2.add(gdstk.Reference(via_via34, (0.297,1.644)))
block2.add(gdstk.Reference(bufx2_asap7_75t_r, (0.54,1.62)))
block2.add(gdstk.Reference(via_via23_1_3_36_36, (0.532,1.62)))
block2.add(gdstk.Reference(via_via23_1_3_36_36, (0.532,2.16)))
block2.add(gdstk.Reference(via_via34, (0.837,1.548)))
block2.add(gdstk.Reference(via_via23, (0.837,1.701)))
block2.add(gdstk.Reference(via_via12, (0.997,1.665)))
block2.add(gdstk.Reference(via_via12, (0.585,1.701)))
block2.add(gdstk.Reference(via_via23_1_3_36_36, (0.724,1.89)))
block2.add(gdstk.Reference(decapx2_asap7_75t_r, (1.08,1.62)))
block2.add(gdstk.Reference(via_via12, (0.945,0.729)))
block2.add(gdstk.Reference(via_via12, (1.373,0.585)))
block2.add(gdstk.Reference(decapx2_asap7_75t_r, (0.54,1.08), x_reflection=True))
block2.add(gdstk.Reference(fillerxp5_asap7_75t_r, (0.756,1.08)))
block2.add(gdstk.Reference(fillerxp5_asap7_75t_r, (0.864,0.54)))
block2.add(gdstk.Reference(via_via12, (1.161,0.585)))
block2.add(gdstk.Reference(via_via23_1_3_36_36, (0.724,0.81)))
block2.add(gdstk.Reference(fillerxp5_asap7_75t_r, (0.864,1.08), x_reflection=True))
block2.add(gdstk.Reference(via_via12, (1.413,0.855)))
block2.add(gdstk.Reference(filler_asap7_75t_r, (1.08,1.08)))
block2.add(gdstk.Reference(via_via23_1_3_36_36, (0.724,1.35)))
block2.add(gdstk.Reference(via_via34_1_2_58_52, (0.724,1.35)))
block2.add(gdstk.Reference(via_via34_1_2_58_52, (0.532,1.068)))
block2.add(gdstk.Reference(via_via12, (1.233,0.729)))
block2.add(gdstk.Reference(decapx1_asap7_75t_r, (0.54,1.08)))
block2.add(gdstk.Reference(via_via23, (0.945,0.729)))
block2.add(gdstk.Reference(via_via34_1_2_58_52, (0.724,0.81)))
block2.add(gdstk.Reference(tapcell_asap7_75t_r, (0.432,0.54)))
block2.add(gdstk.Reference(tapcell_asap7_75t_r, (0.432,1.08)))
block2.add(gdstk.Reference(via_via23, (0.945,1.125)))
block2.add(gdstk.Reference(via_via45_1_2_58_58, (0.532,1.068)))
block2.add(gdstk.Reference(via_via45_1_2_58_58, (0.532,0.54)))
block2.add(gdstk.Reference(via_via45_1_2_58_58, (0.724,0.81)))
block2.add(gdstk.Reference(tapcell_asap7_75t_r, (0.432,1.08), x_reflection=True))
block2.add(gdstk.Reference(via_via12, (1.233,0.891)))
block2.add(gdstk.Reference(via_via12, (1.161,0.891)))
block2.add(gdstk.Reference(via_via12, (0.837,1.197)))
block2.add(gdstk.Reference(via_via12, (1.314,1.125)))
block2.add(gdstk.Reference(via_via23, (1.341,0.585)))
block2.add(gdstk.Reference(via_via12, (1.233,1.305)))
block2.add(gdstk.Reference(via_via23, (1.161,0.585)))
block2.add(gdstk.Reference(invx3_asap7_75t_r, (0.918,1.08), x_reflection=True))
block2.add(gdstk.Reference(via_via23_1_3_36_36, (0.532,1.08)))
block2.add(gdstk.Reference(via_via23, (0.981,1.035)))
block2.add(gdstk.Reference(via_via23, (0.981,1.395)))
block2.add(gdstk.Reference(via_via34_1_2_58_52, (0.532,0.54)))
block2.add(gdstk.Reference(via_via45_1_2_58_58, (0.724,1.35)))
block2.add(gdstk.Reference(via_via12, (0.945,1.035)))
block2.add(gdstk.Reference(bufx2_asap7_75t_r, (0.918,0.54)))
block2.add(gdstk.Reference(via_via12, (0.981,1.395)))
block2.add(gdstk.Reference(via_via34, (1.341,0.588)))
block2.add(gdstk.Reference(via_via12, (0.99,1.125)))
block2.add(gdstk.Reference(via_via34, (1.161,0.54)))
block2.add(gdstk.Reference(bufx2_asap7_75t_r, (0.81,1.08)))
block2.add(gdstk.Reference(via_via23, (1.305,1.125)))
block2.add(gdstk.Reference(via_via23, (1.305,1.197)))
block2.add(gdstk.Reference(via_via23_1_3_36_36, (0.532,0.54)))
block2.add(gdstk.Reference(via_via45, (1.26,0.588)))
block2.add(gdstk.Reference(via_via45, (1.164,0.54)))
block2.add(gdstk.Reference(decapx2_asap7_75t_r, (0.54,0.54)))
block2.add(gdstk.Reference(via_via12, (2.457,1.233)))
block2.add(gdstk.Reference(via_via23, (2.133,1.395)))
block2.add(gdstk.Reference(via_via23, (2.133,0.891)))
block2.add(gdstk.Reference(via_via12, (1.854,1.395)))
block2.add(gdstk.Reference(via_via12, (1.701,0.729)))
block2.add(gdstk.Reference(via_via23, (1.953,1.269)))
block2.add(gdstk.Reference(via_via12, (1.773,0.765)))
block2.add(gdstk.Reference(via_via12, (1.809,1.305)))
block2.add(gdstk.Reference(via_via23, (1.485,0.927)))
block2.add(gdstk.Reference(via_via23, (1.629,0.855)))
block2.add(gdstk.Reference(via_via23, (1.701,1.395)))
block2.add(gdstk.Reference(via_via23, (2.241,0.765)))
block2.add(gdstk.Reference(via_via12, (1.593,1.395)))
block2.add(gdstk.Reference(via_via23, (1.485,0.855)))
block2.add(gdstk.Reference(via_via12, (2.313,0.765)))
block2.add(gdstk.Reference(tapcell_asap7_75t_r, (2.592,1.08), rotation=pi))
block2.add(gdstk.Reference(via_via12, (1.485,0.927)))
block2.add(gdstk.Reference(via_via12, (2.133,1.395)))
block2.add(gdstk.Reference(via_via23, (2.025,0.855)))
block2.add(gdstk.Reference(via_via23, (2.025,0.765)))
block2.add(gdstk.Reference(via_via23, (2.241,0.999)))
block2.add(gdstk.Reference(tapcell_asap7_75t_r, (2.592,0.54), rotation=pi, x_reflection=True))
block2.add(gdstk.Reference(tapcell_asap7_75t_r, (2.592,1.08), rotation=pi, x_reflection=True))
block2.add(gdstk.Reference(via_via12, (2.241,1.161)))
block2.add(gdstk.Reference(via_via12, (1.485,0.657)))
block2.add(gdstk.Reference(invx3_asap7_75t_r, (1.728,0.54)))
block2.add(gdstk.Reference(via_via34, (2.349,1.26)))
block2.add(gdstk.Reference(via_via12, (2.394,0.765)))
block2.add(gdstk.Reference(invx3_asap7_75t_r, (1.998,0.54)))
block2.add(gdstk.Reference(via_via23, (1.989,0.963)))
block2.add(gdstk.Reference(via_via23, (1.989,0.585)))
block2.add(gdstk.Reference(invx2_asap7_75t_r, (2.268,0.54)))
block2.add(gdstk.Reference(via_via23, (1.701,1.197)))
block2.add(gdstk.Reference(fax1_asap7_75t_r, (1.458,1.08)))
block2.add(gdstk.Reference(via_via34, (1.917,1.164)))
block2.add(gdstk.Reference(via_via12, (2.241,0.657)))
block2.add(gdstk.Reference(fax1_asap7_75t_r, (1.728,1.08), x_reflection=True))
block2.add(gdstk.Reference(via_via23, (2.241,1.161)))
block2.add(gdstk.Reference(bufx2_asap7_75t_r, (2.214,1.08)))
block2.add(gdstk.Reference(via_via12, (1.962,0.585)))
block2.add(gdstk.Reference(via_via34, (2.241,1.356)))
block2.add(gdstk.Reference(via_via12, (2.025,0.765)))
block2.add(gdstk.Reference(via_via34, (1.629,0.444)))
block2.add(gdstk.Reference(via_via23, (2.385,0.765)))
block2.add(gdstk.Reference(via_via23, (1.773,0.765)))
block2.add(gdstk.Reference(via_via45, (1.548,0.444)))
block2.add(gdstk.Reference(bufx2_asap7_75t_r, (1.458,0.54)))
block2.add(gdstk.Reference(via_via23, (2.277,1.233)))
block2.add(gdstk.Reference(via_via23, (2.277,0.927)))
block2.add(gdstk.Reference(via_via23, (1.845,1.233)))
block2.add(gdstk.Reference(via_via23, (1.845,1.395)))
block2.add(gdstk.Reference(via_via23, (1.773,1.161)))
block2.add(gdstk.Reference(via_via12, (1.638,0.855)))
block2.add(gdstk.Reference(via_via12, (2.061,0.855)))
block2.add(gdstk.Reference(bufx2_asap7_75t_r, (1.458,1.08), x_reflection=True))

lib.write_gds('Block2.gds')
